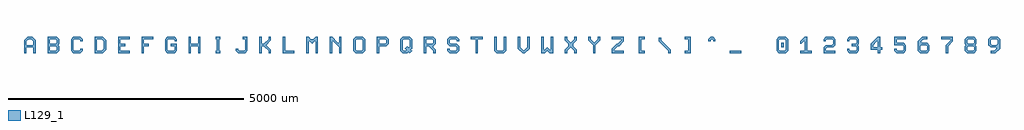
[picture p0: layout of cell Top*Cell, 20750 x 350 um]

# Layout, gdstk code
import gdstk
lib = gdstk.Library(unit=1e-6, precision=1e-09)
def R(c, l, rs):  # rectangles x0, y0, x1, y1
    for r in rs: c.add(gdstk.rectangle(r[:2], r[2:], *l))
def P(c, l, *ps):  # polygons
    for p in ps: c.add(gdstk.Polygon(p, *l))
L129_1 = (129, 1)

text_41 = lib.new_cell('TEXT$41')
P(text_41, L129_1, [(50,0),(50,50),(125,50),(175,100),(175,125),(50,125),(0,175),(175,175),(200,200),(200,275),(175,300),(75,300),(50,275),(50,200),(75,175),(0,175),(0,300),(50,350),(200,350),(250,300),(250,100),(150,0)])

text_30 = lib.new_cell('TEXT$30')
R(text_30, L129_1, [(0,0,250,50)])

text_40 = lib.new_cell('TEXT$40')
P(text_40, L129_1, [(50,0),(0,50),(0,150),(25,175),(0,200),(0,300),(50,350),(200,350),(250,300),(75,300),(50,275),(50,225),(75,200),(175,200),(200,225),(200,275),(175,300),(250,300),(250,200),(225,175),(250,150),(75,150),(50,125),(50,75),(75,50),(175,50),(200,75),(200,125),(175,150),(250,150),(250,50),(200,0)])

text_29 = lib.new_cell('TEXT$29')
P(text_29, L129_1, [(50,250),(50,300),(100,350),(150,350),(200,300),(200,250),(150,250),(150,275),(125,300),(100,275),(100,250)])

text_32 = lib.new_cell('TEXT$32')
R(text_32, L129_1, [(100,125,150,225)])
P(text_32, L129_1, [(50,0),(0,50),(0,300),(50,350),(200,350),(250,300),(75,300),(50,275),(50,75),(75,50),(175,50),(200,75),(200,275),(175,300),(250,300),(250,50),(200,0)])

text_21 = lib.new_cell('TEXT$21')
P(text_21, L129_1, [(100,0),(0,100),(0,350),(50,350),(50,125),(125,50),(200,125),(200,350),(250,350),(250,100),(150,0)])

text_10 = lib.new_cell('TEXT$10')
P(text_10, L129_1, [(0,0),(0,350),(50,350),(50,200),(100,200),(200,300),(200,350),(250,350),(250,275),(150,175),(250,75),(250,0),(200,0),(200,50),(100,150),(50,150),(50,0)])

text_31 = lib.new_cell('TEXT$31')

text_20 = lib.new_cell('TEXT$20')
P(text_20, L129_1, [(50,0),(0,50),(0,350),(50,350),(50,75),(75,50),(175,50),(200,75),(200,350),(250,350),(250,50),(200,0)])

text_9 = lib.new_cell('TEXT$9')
P(text_9, L129_1, [(50,0),(0,50),(0,100),(50,100),(50,75),(75,50),(175,50),(200,75),(200,300),(150,300),(150,350),(250,350),(250,50),(200,0)])

text_19 = lib.new_cell('TEXT$19')
P(text_19, L129_1, [(100,0),(100,300),(0,300),(0,350),(250,350),(250,300),(150,300),(150,0)])

text_8 = lib.new_cell('TEXT$8')
P(text_8, L129_1, [(75,0),(75,50),(100,50),(100,300),(75,300),(75,350),(175,350),(175,300),(150,300),(150,50),(175,50),(175,0)])

text_18 = lib.new_cell('TEXT$18')
P(text_18, L129_1, [(50,0),(0,50),(0,100),(50,100),(50,75),(75,50),(175,50),(200,75),(200,125),(175,150),(50,150),(0,200),(0,300),(50,350),(200,350),(250,300),(250,250),(200,250),(200,275),(175,300),(75,300),(50,275),(50,225),(75,200),(200,200),(250,150),(250,50),(200,0)])

text_7 = lib.new_cell('TEXT$7')
P(text_7, L129_1, [(0,0),(0,350),(50,350),(50,200),(200,200),(200,350),(250,350),(250,0),(200,0),(200,150),(50,150),(50,0)])

text_17 = lib.new_cell('TEXT$17')
P(text_17, L129_1, [(0,0),(0,350),(200,350),(250,300),(50,300),(50,200),(175,200),(200,225),(200,275),(175,300),(250,300),(250,200),(200,150),(200,125),(250,75),(250,0),(200,0),(200,50),(100,150),(50,150),(50,0)])

text_6 = lib.new_cell('TEXT$6')
P(text_6, L129_1, [(50,0),(0,50),(0,300),(50,350),(200,350),(250,300),(250,250),(200,250),(200,275),(175,300),(75,300),(50,275),(50,75),(75,50),(175,50),(200,75),(200,150),(125,150),(125,200),(250,200),(250,50),(200,0)])

text_16 = lib.new_cell('TEXT$16')
P(text_16, L129_1, [(50,0),(0,50),(0,300),(50,350),(200,350),(250,300),(75,300),(50,275),(50,75),(75,50),(125,50),(125,75),(100,100),(150,150),(175,125),(200,125),(200,275),(175,300),(250,300),(250,100),(225,75),(250,50),(200,0),(175,25),(150,0)])

text_5 = lib.new_cell('TEXT$5')
P(text_5, L129_1, [(0,0),(0,350),(250,350),(250,300),(50,300),(50,200),(150,200),(150,150),(50,150),(50,0)])

text_15 = lib.new_cell('TEXT$15')
P(text_15, L129_1, [(0,0),(0,350),(200,350),(250,300),(250,200),(200,150),(50,150),(50,200),(175,200),(200,225),(200,275),(175,300),(50,300),(50,0)])

text_4 = lib.new_cell('TEXT$4')
P(text_4, L129_1, [(0,0),(0,350),(250,350),(250,300),(50,300),(50,200),(150,200),(150,150),(50,150),(50,50),(250,50),(250,0)])

text_3 = lib.new_cell('TEXT$3')
P(text_3, L129_1, [(0,0),(0,350),(175,350),(225,300),(50,300),(50,50),(150,50),(200,100),(200,250),(150,300),(225,300),(250,275),(250,75),(175,0)])

text_2 = lib.new_cell('TEXT$2')
P(text_2, L129_1, [(50,0),(0,50),(0,300),(50,350),(200,350),(250,300),(250,250),(200,250),(200,275),(175,300),(75,300),(50,275),(50,75),(75,50),(175,50),(200,75),(200,100),(250,100),(250,50),(200,0)])

text_1 = lib.new_cell('TEXT$1')
P(text_1, L129_1, [(0,0),(0,350),(200,350),(250,300),(50,300),(50,200),(175,200),(200,225),(200,275),(175,300),(250,300),(250,200),(225,175),(250,150),(50,150),(50,50),(175,50),(200,75),(200,125),(175,150),(250,150),(250,50),(200,0)])

text = lib.new_cell('TEXT')
P(text, L129_1, [(0,0),(0,275),(75,350),(175,350),(225,300),(100,300),(50,250),(50,175),(200,175),(200,250),(150,300),(225,300),(250,275),(250,0),(200,0),(200,125),(50,125),(50,0)])

text_33 = lib.new_cell('TEXT$33')
P(text_33, L129_1, [(0,0),(0,50),(100,50),(100,250),(75,250),(25,200),(0,200),(0,250),(100,350),(150,350),(150,50),(250,50),(250,0)])

text_11 = lib.new_cell('TEXT$11')
P(text_11, L129_1, [(0,0),(0,350),(50,350),(50,50),(250,50),(250,0)])

text_22 = lib.new_cell('TEXT$22')
P(text_22, L129_1, [(0,0),(0,350),(50,350),(50,75),(75,75),(125,125),(175,75),(200,75),(200,350),(250,350),(250,0),(175,0),(125,50),(75,0)])

text_34 = lib.new_cell('TEXT$34')
P(text_34, L129_1, [(0,0),(0,125),(50,175),(175,175),(200,200),(200,275),(175,300),(75,300),(50,275),(50,250),(0,250),(0,300),(50,350),(200,350),(250,300),(250,175),(200,125),(75,125),(50,100),(50,50),(250,50),(250,0)])

text_12 = lib.new_cell('TEXT$12')
P(text_12, L129_1, [(0,0),(0,350),(50,350),(100,300),(150,300),(200,350),(250,350),(250,0),(200,0),(200,250),(175,250),(125,200),(75,250),(50,250),(50,0)])

text_23 = lib.new_cell('TEXT$23')
P(text_23, L129_1, [(0,0),(0,75),(75,150),(75,200),(0,275),(0,350),(50,350),(50,300),(125,225),(200,300),(200,350),(250,350),(250,275),(175,200),(175,150),(250,75),(250,0),(200,0),(200,50),(125,125),(50,50),(50,0)])

text_35 = lib.new_cell('TEXT$35')
P(text_35, L129_1, [(50,0),(0,50),(0,100),(50,100),(50,75),(75,50),(175,50),(200,75),(200,125),(175,150),(100,150),(100,200),(175,200),(200,225),(200,275),(175,300),(75,300),(50,275),(50,250),(0,250),(0,300),(50,350),(200,350),(250,300),(250,200),(225,175),(250,150),(250,50),(200,0)])

text_13 = lib.new_cell('TEXT$13')
P(text_13, L129_1, [(0,0),(0,350),(50,350),(175,225),(200,225),(200,350),(250,350),(250,0),(200,0),(200,125),(75,250),(50,250),(50,0)])

text_24 = lib.new_cell('TEXT$24')
P(text_24, L129_1, [(100,0),(100,175),(0,275),(0,350),(50,350),(50,300),(125,225),(200,300),(200,350),(250,350),(250,275),(150,175),(150,0)])

text_36 = lib.new_cell('TEXT$36')
P(text_36, L129_1, [(150,0),(150,75),(0,75),(0,125),(150,125),(150,250),(125,250),(50,175),(50,125),(0,125),(0,200),(150,350),(200,350),(200,125),(250,125),(250,75),(200,75),(200,0)])

text_14 = lib.new_cell('TEXT$14')
P(text_14, L129_1, [(50,0),(0,50),(0,300),(50,350),(200,350),(250,300),(250,175),(200,175),(200,275),(175,300),(75,300),(50,275),(50,75),(75,50),(175,50),(200,75),(200,175),(250,175),(250,50),(200,0)])

text_25 = lib.new_cell('TEXT$25')
P(text_25, L129_1, [(0,0),(0,100),(100,200),(125,200),(200,275),(200,300),(0,300),(0,350),(250,350),(250,250),(150,150),(125,150),(50,75),(50,50),(250,50),(250,0)])

text_37 = lib.new_cell('TEXT$37')
P(text_37, L129_1, [(50,0),(0,50),(0,100),(50,100),(50,75),(75,50),(175,50),(200,75),(200,150),(175,175),(0,175),(0,350),(250,350),(250,300),(50,300),(50,225),(200,225),(250,175),(250,50),(200,0)])

text_26 = lib.new_cell('TEXT$26')
P(text_26, L129_1, [(75,0),(75,350),(200,350),(200,300),(125,300),(125,50),(200,50),(200,0)])

text_38 = lib.new_cell('TEXT$38')
P(text_38, L129_1, [(50,0),(0,50),(0,250),(100,350),(200,350),(200,300),(125,300),(75,250),(75,225),(200,225),(250,175),(75,175),(50,150),(50,75),(75,50),(175,50),(200,75),(200,150),(175,175),(250,175),(250,50),(200,0)])

text_27 = lib.new_cell('TEXT$27')
P(text_27, L129_1, [(200,0),(200,50),(0,250),(0,325),(50,325),(50,275),(250,75),(250,0)])

text_39 = lib.new_cell('TEXT$39')
P(text_39, L129_1, [(100,0),(100,175),(200,275),(200,300),(0,300),(0,350),(250,350),(250,250),(150,150),(150,0)])

text_28 = lib.new_cell('TEXT$28')
P(text_28, L129_1, [(50,0),(50,50),(125,50),(125,300),(50,300),(50,350),(175,350),(175,0)])

top_cell = lib.new_cell('Top*Cell')
top_cell.add(gdstk.Reference(text_41, (20500,0)))
top_cell.add(gdstk.Reference(text_30, (15000,0)))
top_cell.add(gdstk.Reference(text_40, (20000,0)))
top_cell.add(gdstk.Reference(text_29, (14500,0)))
top_cell.add(gdstk.Reference(text_32, (16000,0)))
top_cell.add(gdstk.Reference(text_21, (10500,0)))
top_cell.add(gdstk.Reference(text_10, (5000,0)))
top_cell.add(gdstk.Reference(text_31, (15500,0)))
top_cell.add(gdstk.Reference(text_20, (10000,0)))
top_cell.add(gdstk.Reference(text_9, (4500,0)))
top_cell.add(gdstk.Reference(text_19, (9500,0)))
top_cell.add(gdstk.Reference(text_8, (4000,0)))
top_cell.add(gdstk.Reference(text_18, (9000,0)))
top_cell.add(gdstk.Reference(text_7, (3500,0)))
top_cell.add(gdstk.Reference(text_17, (8500,0)))
top_cell.add(gdstk.Reference(text_6, (3000,0)))
top_cell.add(gdstk.Reference(text_16, (8000,0)))
top_cell.add(gdstk.Reference(text_5, (2500,0)))
top_cell.add(gdstk.Reference(text_15, (7500,0)))
top_cell.add(gdstk.Reference(text_4, (2000,0)))
top_cell.add(gdstk.Reference(text_3, (1500,0)))
top_cell.add(gdstk.Reference(text_2, (1000,0)))
top_cell.add(gdstk.Reference(text_1, (500,0)))
top_cell.add(gdstk.Reference(text, (0,0)))
top_cell.add(gdstk.Reference(text_33, (16500,0)))
top_cell.add(gdstk.Reference(text_11, (5500,0)))
top_cell.add(gdstk.Reference(text_22, (11000,0)))
top_cell.add(gdstk.Reference(text_34, (17000,0)))
top_cell.add(gdstk.Reference(text_12, (6000,0)))
top_cell.add(gdstk.Reference(text_23, (11500,0)))
top_cell.add(gdstk.Reference(text_35, (17500,0)))
top_cell.add(gdstk.Reference(text_13, (6500,0)))
top_cell.add(gdstk.Reference(text_24, (12000,0)))
top_cell.add(gdstk.Reference(text_36, (18000,0)))
top_cell.add(gdstk.Reference(text_14, (7000,0)))
top_cell.add(gdstk.Reference(text_25, (12500,0)))
top_cell.add(gdstk.Reference(text_37, (18500,0)))
top_cell.add(gdstk.Reference(text_26, (13000,0)))
top_cell.add(gdstk.Reference(text_38, (19000,0)))
top_cell.add(gdstk.Reference(text_27, (13500,0)))
top_cell.add(gdstk.Reference(text_39, (19500,0)))
top_cell.add(gdstk.Reference(text_28, (14000,0)))

lib.write_gds('Top_Cell.gds')
